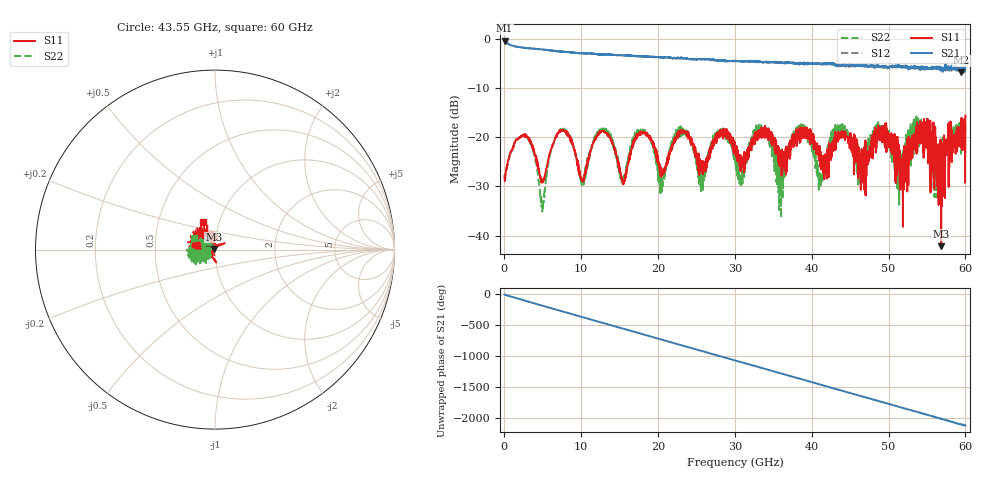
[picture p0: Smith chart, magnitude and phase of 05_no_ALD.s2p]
! File created by 'SoftPlot +Plus+ Measurement Management Software'
! SoftPlot +Plus+ Measurement Management Software
! Start 40.000000 MHz  Stop 60.000000 GHz  Points 1601
# MHZ S RI R 50
! S-Parameter data, F S11 S21 S12 S22
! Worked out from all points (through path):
!   1601 points, 40 MHz to 60 GHz, reference 50 ohm
!   highest |S21| = -0.37 dB at 40 MHz (marker M1); lowest = -6.8 dB at 59.48 GHz (marker M2)
!   group delay of S21, straight-line fit = 97.7 ps
!   lowest |S11| = -42.1 dB at 56.85 GHz (marker M3), VSWR 1.02, Z = 49.3 + j0.421 ohm
!   |S11| at or under -10 dB: start of sweep to end of sweep
!   |S22| runs from -36.4 to -15.8 dB; largest |S21 - S12| = 0.067
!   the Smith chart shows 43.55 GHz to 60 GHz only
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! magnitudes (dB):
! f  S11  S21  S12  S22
! 40 MHz  -27.9  -0.4  -0.3  -28.0
! 2.776 GHz  -19.4  -1.9  -1.9  -19.9
! 4.987 GHz  -29.2  -2.2  -2.2  -33.1
! 7.572 GHz  -18.7  -2.6  -2.6  -18.6
! 10.05 GHz  -28.8  -3.0  -3.0  -28.8
! 12.71 GHz  -18.8  -3.2  -3.2  -18.4
! 15.44 GHz  -28.8  -3.4  -3.4  -28.8
! 17.73 GHz  -18.9  -3.5  -3.6  -19.2
! 20.05 GHz  -25.4  -3.8  -3.8  -25.2
! 22.97 GHz  -18.6  -3.9  -3.9  -19.7
! 25.64 GHz  -26.7  -4.2  -4.2  -26.3
! 27.88 GHz  -19.2  -4.3  -4.4  -19.1
! 30.02 GHz  -22.3  -4.5  -4.5  -24.0
! 40.03 GHz  -19.6  -5.0  -5.0  -22.9
! 41.23 GHz  -26.6  -5.0  -5.2  -28.8
! 43.36 GHz  -20.3  -5.4  -5.4  -19.3
! 46.36 GHz  -23.4  -5.4  -5.5  -26.7
! 50.03 GHz  -19.5  -5.7  -5.8  -21.9
! 51.42 GHz  -24.8  -5.5  -5.7  -25.6
! 56.85 GHz  -42.1  -6.3  -6.1  -23.8
! 59.48 GHz  -22.2  -6.8  -6.6  -17.5
! 60 GHz  -15.6  -5.7  -6.2  -17.7
